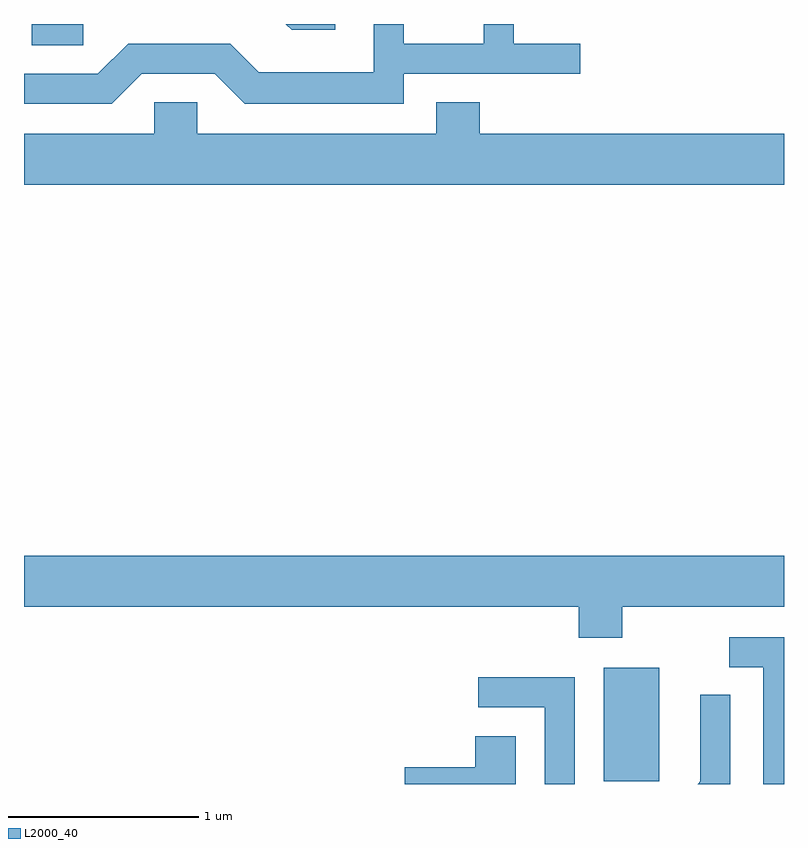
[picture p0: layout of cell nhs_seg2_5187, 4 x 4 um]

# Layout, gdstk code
import gdstk
lib = gdstk.Library(unit=1e-6, precision=1e-09)
def R(c, l, rs):  # rectangles x0, y0, x1, y1
    for r in rs: c.add(gdstk.rectangle(r[:2], r[2:], *l))
def P(c, l, *ps):  # polygons
    for p in ps: c.add(gdstk.Polygon(p, *l))
L2000_40 = (2000, 40)

nhs_seg2_5187 = lib.new_cell('nhs_seg2_5187')
R(nhs_seg2_5187, L2000_40, [(340.661,1071.816,340.954,1072.414), (337.651,1075.691,337.923,1075.802)])
P(nhs_seg2_5187, L2000_40, [(339.248,1075.802),(338.988,1075.802),(339.019,1075.771),(339.248,1075.771)],
  [(338.232,1075.541),(338.614,1075.541),(338.774,1075.381),(339.609,1075.381),(339.609,1075.541),(340.538,1075.541),(340.538,1075.699),(340.189,1075.699),(340.189,1075.802),(340.031,1075.802),(340.031,1075.699),(339.609,1075.699),(339.609,1075.802),(339.451,1075.802),(339.451,1075.549),(338.847,1075.549),(338.697,1075.699),(338.159,1075.699),(337.999,1075.539),(337.611,1075.539),(337.611,1075.381),(338.072,1075.381)],
  [(341.611,1075.224),(340.009,1075.224),(340.009,1075.389),(339.781,1075.389),(339.781,1075.224),(338.524,1075.224),(338.524,1075.389),(338.296,1075.389),(338.296,1075.224),(337.611,1075.224),(337.611,1074.956),(341.611,1074.956)],
  [(340.759,1072.736),(341.611,1072.736),(341.611,1073.004),(337.611,1073.004),(337.611,1072.736),(340.531,1072.736),(340.531,1072.571),(340.759,1072.571)],
  [(341.611,1072.574),(341.323,1072.574),(341.323,1072.416),(341.501,1072.416),(341.501,1071.802),(341.611,1071.802)],
  [(340.509,1072.364),(340.003,1072.364),(340.003,1072.206),(340.351,1072.206),(340.351,1071.802),(340.509,1071.802)],
  [(341.329,1072.273),(341.171,1072.273),(341.171,1071.817),(341.156,1071.802),(341.329,1071.802)],
  [(340.199,1072.054),(339.986,1072.054),(339.986,1071.889),(339.616,1071.889),(339.616,1071.802),(340.199,1071.802)])

lib.write_gds('nhs_seg2_5187.gds')
